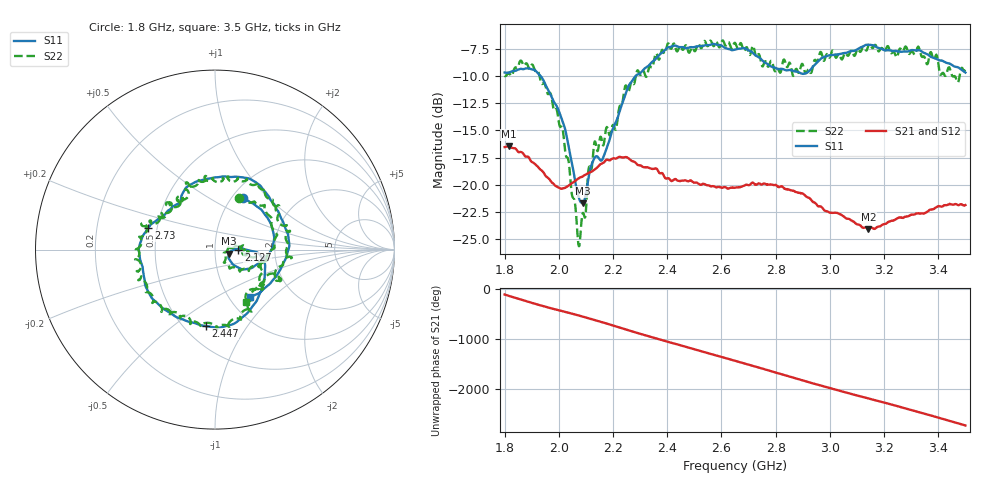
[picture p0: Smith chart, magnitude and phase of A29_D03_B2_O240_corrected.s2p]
! Created with skrf 1.9.0 (http://scikit-rf.org).
# Hz S RI R 50.0
!freq ReS11 ImS11 ReS21 ImS21 ReS12 ImS12 ReS22 ImS22
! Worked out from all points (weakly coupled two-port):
!   1601 points, 1.8 GHz to 3.5 GHz, reference 50 ohm
!   highest |S21| = -16.46 dB at 1.816 GHz (marker M1); lowest = -24.0 dB at 3.142 GHz (marker M2)
!   lowest |S11| = -21.7 dB at 2.088 GHz (marker M3), VSWR 1.18, Z = 58.5 - j2.72 ohm
!   |S11| at or under -10 dB: 1.932 GHz to 2.283 GHz (351 MHz wide, 16.7 % of centre)
!   |S22| runs from -25.6 to -6.7 dB; largest |S21 - S12| = 0.0026
!   S11 on the Smith chart (normalised r, x): 1.8 GHz: 1.11, +0.72; 2.127 GHz: 1.30, +0.00; 2.447 GHz: 0.63, -0.66; 2.73 GHz: 0.45, +0.13; 3.5 GHz: 1.24, -0.73
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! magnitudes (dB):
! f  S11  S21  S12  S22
! 1.8 GHz  -9.7  -16.5  -16.5  -10.0
! 1.816 GHz  -9.7  -16.5  -16.5  -9.7
! 1.903 GHz  -9.4  -17.9  -17.9  -9.0
! 1.968 GHz  -11.6  -19.6  -19.6  -11.6
! 2.015 GHz  -14.2  -20.3  -20.3  -15.0
! 2.072 GHz  -21.0  -19.4  -19.4  -25.4
! 2.084 GHz  -21.6  -19.3  -19.2  -23.3
! 2.088 GHz  -21.7  -19.2  -19.2  -22.6
! 2.127 GHz  -17.7  -18.7  -18.7  -16.9
! 2.164 GHz  -17.5  -18.0  -17.9  -16.4
! 2.263 GHz  -10.7  -17.7  -17.7  -10.9
! 2.367 GHz  -8.2  -18.8  -18.7  -8.5
! 2.447 GHz  -7.4  -19.6  -19.6  -7.3
! 2.65 GHz  -7.6  -20.2  -20.2  -7.0
! 2.73 GHz  -8.2  -20.0  -20.0  -8.3
! 2.934 GHz  -9.3  -21.5  -21.4  -9.6
! 2.966 GHz  -8.4  -22.0  -22.0  -7.8
! 3.142 GHz  -7.1  -24.0  -23.9  -7.2
! 3.217 GHz  -7.6  -23.4  -23.3  -7.4
! 3.327 GHz  -7.6  -22.6  -22.6  -7.3
! 3.469 GHz  -9.2  -21.8  -21.8  -10.5
! 3.5 GHz  -9.7  -21.8  -21.8  -9.3
